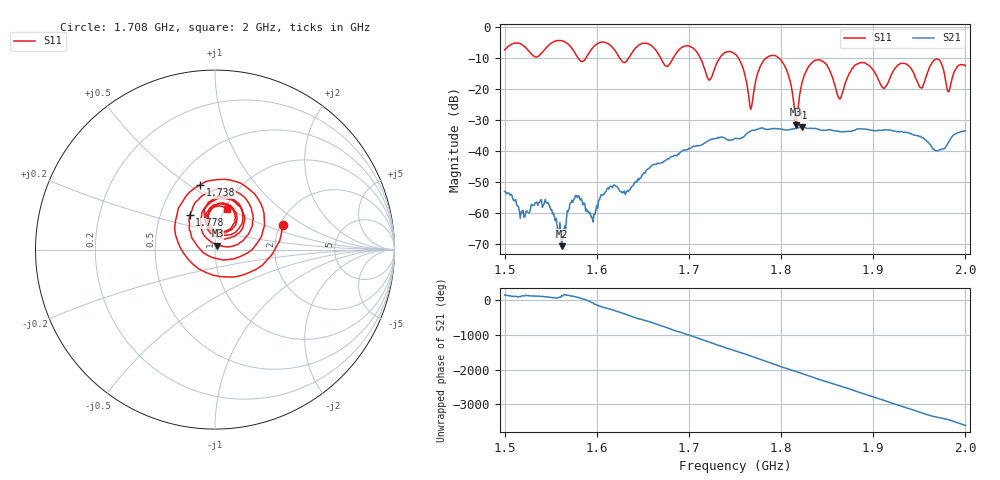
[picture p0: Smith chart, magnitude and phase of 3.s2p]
! NanoVNA-App by SYSJOINT et al v1.1.209 (+OD18)
! Date: 2026-01-21 14:16:47
! Start: 1,5GHz Stop: 2GHz Points: 501
! S-Parameter data: F S11 S21 S12 S22
# Hz S RI R 50
!  Frequency  S11_Real  S11_Imag  S21_Real  S21_Imag  S12_Real  S12_Imag  S22_Real  S22_Imag
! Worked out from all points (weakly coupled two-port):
!   501 points, 1.5 GHz to 2 GHz, reference 50 ohm
!   highest |S21| = -32.34 dB at 1.823 GHz (marker M1); lowest = -70.7 dB at 1.562 GHz (marker M2)
!   lowest |S11| = -31.6 dB at 1.816 GHz (marker M3), VSWR 1.05, Z = 51.4 + j2.3 ohm
!   |S11| at or under -10 dB: 1.712 GHz to 1.734 GHz (21.54 MHz wide, 1.25 % of centre); 1.753 GHz to 1.785 GHz (31.09 MHz wide, 1.76 % of centre); 1.797 GHz to end of sweep (the widest 3 of 6)
!   S12 and S22 are empty: the file has one direction only
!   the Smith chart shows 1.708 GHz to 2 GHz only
!   S11 on the Smith chart (normalised r, x): 1.708 GHz: 2.06, +0.67; 1.738 GHz: 0.66, +0.55; 1.778 GHz: 0.71, +0.29; 2 GHz: 1.03, +0.49
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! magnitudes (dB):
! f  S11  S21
! 1.5 GHz  -7.5  -53.1
! 1.546 GHz  -6.6  -56.8
! 1.562 GHz  -4.6  -70.7
! 1.584 GHz  -11.2  -55.9
! 1.596 GHz  -6.7  -62.9
! 1.667 GHz  -8.9  -44.1
! 1.708 GHz  -7.9  -38.5
! 1.722 GHz  -17.3  -36.6
! 1.738 GHz  -8.6  -35.7
! 1.75 GHz  -8.8  -36.0
! 1.767 GHz  -26.7  -33.6
! 1.778 GHz  -12.5  -32.8
! 1.801 GHz  -11.2  -33.1
! 1.816 GHz  -31.6  -32.8
! 1.823 GHz  -17.7  -32.3
! 1.834 GHz  -11.5  -32.8
! 1.863 GHz  -23.2  -33.8
! 1.885 GHz  -11.7  -32.9
! 1.917 GHz  -17.4  -33.3
! 1.97 GHz  -10.5  -40.0
! 1.982 GHz  -21.0  -37.0
! 2 GHz  -12.6  -33.6
